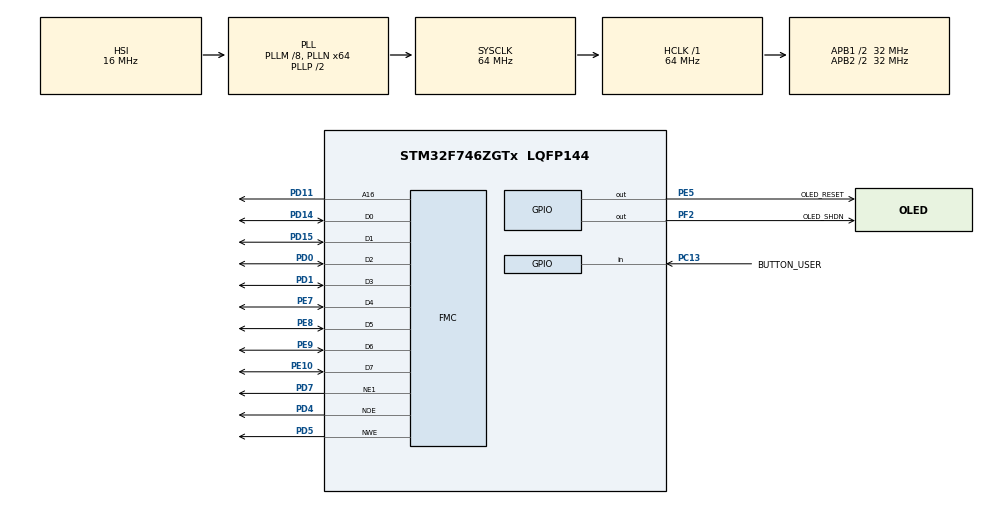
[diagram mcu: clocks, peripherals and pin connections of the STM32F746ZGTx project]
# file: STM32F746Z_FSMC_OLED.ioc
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Mcu.Family=STM32F7
PD7.Mode=NorPsramChipSelect1_1
SH.FMC_D7_DA7.0=FMC_D7,8b-d1
RCC.CortexFreq_Value=64000000
FREERTOS.BinarySemaphores01=screen_frame_buffer_sem,Dynamic,NULL
NVIC.TIM6_DAC_IRQn=true\:5\:0\:false\:false\:true\:true\:true\:true
STMicroelectronics.X-CUBE-TOUCHGFX.4.16.1.tgfx_buffering_strategy=Double
SH.FMC_D6_DA6.0=FMC_D6,8b-d1
PC13.GPIO_Label=BUTTON_USER
SH.FMC_D5_DA5.0=FMC_D5,8b-d1
STMicroelectronics.X-CUBE-TOUCHGFX.4.16.1.tgfx_location=By Address
SH.FMC_NWE.0=FMC_NWE,Lcd1
RCC.SYSCLKSource=RCC_SYSCLKSOURCE_PLLCLK
ProjectManager.StackSize=0x400
CORTEX_M7.Enable-Cortex_Memory_Protection_Unit_Region0_Settings=MPU_REGION_ENABLE
NVIC.DMA2D_IRQn=true\:5\:0\:true\:false\:true\:true\:true\:true
RCC.HCLKFreq_Value=64000000
PD4.Signal=FMC_NOE
RCC.APB2TimFreq_Value=64000000
PD0.Signal=FMC_D2_DA2
NVIC.DMA2_Stream0_IRQn=true\:5\:0\:false\:false\:true\:true\:true\:true
PE5.Signal=GPIO_Output
RCC.AHBFreq_Value=64000000
RCC.HSE_VALUE=25000000
FREERTOS.configUSE_TIMERS=1
SH.FMC_D2_DA2.0=FMC_D2,8b-d1
FMC.BusTurnAroundDuration1=3
FMC.DataSetupTime1=3
PE9.Signal=FMC_D6_DA6
Dma.MEMTOMEM.0.Instance=DMA2_Stream0
PE5.PinState=GPIO_PIN_SET
SH.FMC_D1_DA1.0=FMC_D1,8b-d1
TIM6.Period=10
VP_FREERTOS_VS_CMSIS_V1.Mode=CMSIS_V1
DMA2D.ColorMode=DMA2D_OUTPUT_RGB565
PE10.Signal=FMC_D7_DA7
FREERTOS.configTOTAL_HEAP_SIZE=32768
Mcu.Package=LQFP144
NVIC.TimeBase=TIM7_IRQn
SH.FMC_D0_DA0.0=FMC_D0,8b-d1
FMC.ExtendedDataSetupTime1=3
Dma.MEMTOMEM.0.PeriphInc=DMA_PINC_ENABLE
STMicroelectronics.X-CUBE-TOUCHGFX.4.16.1.ApplicationCcGraphicsJjApplication=TouchGFXOoGenerator
NVIC.TimeBaseIP=TIM7
Dma.MEMTOMEM.0.FIFOThreshold=DMA_FIFO_THRESHOLD_FULL
SH.FMC_D4_DA4.0=FMC_D4,8b-d1
RCC.APB2CLKDivider=RCC_HCLK_DIV2
FMC.ExtendedAddressSetupTime1=15
RCC.APB1TimFreq_Value=64000000
VP_DMA2D_VS_DMA2D.Mode=DMA2D_Activate
PE7.Signal=FMC_D4_DA4
Dma.Request0=MEMTOMEM
STMicroelectronics.X-CUBE-TOUCHGFX.4.16.1.tgfx_datareader=Disabled
PD15.Signal=FMC_D1_DA1
SH.FMC_D3_DA3.0=FMC_D3,8b-d1
NVIC.TIM7_IRQn=true\:0\:0\:false\:false\:true\:false\:false\:true
VP_STMicroelectronics.X-CUBE-TOUCHGFX_VS_GraphicsJjApplication_4.16.1.Mode=GraphicsJjApplication
STMicroelectronics.X-CUBE-TOUCHGFX.4.16.1.tgfx_custom_height=128
Dma.MEMTOMEM.0.MemDataAlignment=DMA_MDATAALIGN_HALFWORD
CORTEX_M7.CPU_ICache=Disabled
FREERTOS.Tasks01=defaultTask,0,4096,StartDefaultTask,Default,NULL,Dynamic,NULL,NULL;ButtonTask,-3,256,StartButtonTask,Default,NULL,Dynamic,NULL,NULL
FMC.ExtendedMode1=FMC_EXTENDED_MODE_ENABLE
Dma.MEMTOMEM.0.Priority=DMA_PRIORITY_LOW
STMicroelectronics.X-CUBE-TOUCHGFX.4.16.1.tgfx_address1=0x20030000
STMicroelectronics.X-CUBE-TOUCHGFX.4.16.1.tgfx_address2=0x2003A000
PC13.Signal=GPIO_Input
VP_SYS_VS_tim7.Mode=TIM7
TIM6.Prescaler=6399
VP_TIM6_VS_ClockSourceINT.Mode=Enable_Timer
PD7.Signal=FMC_NE1
PD1.Signal=FMC_D3_DA3
PD5.Signal=FMC_NWE
RCC.APB1CLKDivider=RCC_HCLK_DIV2
SH.FMC_NOE.0=FMC_NOE,Lcd1
PF2.PinState=GPIO_PIN_SET
STMicroelectronics.X-CUBE-TOUCHGFX.4.16.1.tgfx_custom_width=160
FMC.AddressSetupTime1=15
TIM6.AutoReloadPreload=TIM_AUTORELOAD_PRELOAD_ENABLE
CORTEX_M7.MPU_Control=__NULL
STMicroelectronics.X-CUBE-TOUCHGFX.4.16.1.tgfx_hardware_accelerator=dma_2d
ProjectManager.TargetToolchain=STM32CubeIDE
SH.FMC_A16_CLE.0=FMC_A16,A16_1
FMC.ExtendedBusTurnAroundDuration1=3
PF2.Signal=GPIO_Output
RCC.USBFreq_Value=64000000
Dma.MEMTOMEM.0.FIFOMode=DMA_FIFOMODE_ENABLE
RCC.LSE_VALUE=32768
Dma.MEMTOMEM.0.MemBurst=DMA_MBURST_SINGLE
board=custom
RCC.VCOOutputFreq_Value=128000000
RCC.APB2Freq_Value=32000000
PE8.Signal=FMC_D5_DA5
Mcu.Name=STM32F746ZGTx
CORTEX_M7.Size-Cortex_Memory_Protection_Unit_Region0_Settings=MPU_REGION_SIZE_512KB
PD14.Signal=FMC_D0_DA0
Dma.MEMTOMEM.0.PeriphDataAlignment=DMA_PDATAALIGN_HALFWORD
RCC.SYSCLKFreq_VALUE=64000000
Dma.MEMTOMEM.0.Mode=DMA_NORMAL
Dma.MEMTOMEM.0.PeriphBurst=DMA_PBURST_SINGLE
Dma.MEMTOMEM.0.MemInc=DMA_MINC_DISABLE
PD11.Signal=FMC_A16_CLE
PE5.GPIO_Label=OLED_RESET
ProjectManager.HeapSize=0x200
FREERTOS.Timers01=signalVsync,signalVsyncCallback,osTimerPeriodic,Default,NULL,Dynamic,NULL
RCC.HSI_VALUE=16000000
NVIC.PriorityGroup=NVIC_PRIORITYGROUP_4
RCC.PLLM=8
RCC.PLLN=64
PE5.GPIO_Speed=GPIO_SPEED_FREQ_LOW
Dma.MEMTOMEM.0.Direction=DMA_MEMORY_TO_MEMORY
CORTEX_M7.CPU_DCache=Disabled
RCC.APB1Freq_Value=32000000
VP_CRC_VS_CRC.Mode=CRC_Activate
STMicroelectronics.X-CUBE-TOUCHGFX.4.16.1.tgfx_pixel_format=RGB565\:16
PF2.GPIO_Label=OLED_SHDN

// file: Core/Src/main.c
/* USER CODE BEGIN Header */
/**
  ******************************************************************************
  * @file           : main.c
  * @brief          : Main program body
  ******************************************************************************
  * @attention
  *
  * <h2><center>&copy; Copyright (c) 2021 STMicroelectronics.
  * All rights reserved.</center></h2>
  *
  * This software component is licensed by ST under BSD 3-Clause license,
  * the "License"; You may not use this file except in compliance with the
  * License. You may obtain a copy of the License at:
  *                        opensource.org/licenses/BSD-3-Clause
  *
  ******************************************************************************
  */
/* USER CODE END Header */
#include "main.h"
#include "cmsis_os.h"
#include "crc.h"
#include "dma.h"
#include "dma2d.h"
#include "tim.h"
#include "gpio.h"
#include "fmc.h"
#include "app_touchgfx.h"

/* USER CODE BEGIN Includes */
#include <stdio.h>

#include "../../oled160128/Inc/oled160128.h"
/* USER CODE END Includes */

void SystemClock_Config(void);
void MX_FREERTOS_Init(void);

/* USER CODE BEGIN 0 */
int _write ( int file, char *ptr, int len )
{
  int i = 0;
  for ( i = 0; i < len; i++ )
    ITM_SendChar ( *ptr++ );
  return len;
}

extern void touchgfx_signalVSyncTimer(void);
/* USER CODE END 0 */

int main(void)
{

  /* MCU Configuration--------------------------------------------------------*/

  /* Reset of all peripherals, Initializes the Flash interface and the Systick. */
  HAL_Init();

  /* Configure the system clock */
  SystemClock_Config();

  /* Initialize all configured peripherals */
  MX_GPIO_Init();
  MX_DMA_Init();
  MX_FMC_Init();
  MX_TIM6_Init();
  MX_CRC_Init();
  MX_DMA2D_Init();
  MX_TouchGFX_Init();

  /* Call init function for freertos objects (in freertos.c) */
  MX_FREERTOS_Init();
  /* Start scheduler */
  osKernelStart();

  /* We should never get here as control is now taken by the scheduler */
  /* Infinite loop */
  while (1)
  {

  }
}

void SystemClock_Config(void)
{
  RCC_OscInitTypeDef RCC_OscInitStruct = {0};
  RCC_ClkInitTypeDef RCC_ClkInitStruct = {0};

  /** Configure the main internal regulator output voltage
  */
  __HAL_RCC_PWR_CLK_ENABLE();
  __HAL_PWR_VOLTAGESCALING_CONFIG(PWR_REGULATOR_VOLTAGE_SCALE3);
  /** Initializes the RCC Oscillators according to the specified parameters
  * in the RCC_OscInitTypeDef structure.
  */
  RCC_OscInitStruct.OscillatorType = RCC_OSCILLATORTYPE_HSI;
  RCC_OscInitStruct.HSIState = RCC_HSI_ON;
  RCC_OscInitStruct.HSICalibrationValue = RCC_HSICALIBRATION_DEFAULT;
  RCC_OscInitStruct.PLL.PLLState = RCC_PLL_ON;
  RCC_OscInitStruct.PLL.PLLSource = RCC_PLLSOURCE_HSI;
  RCC_OscInitStruct.PLL.PLLM = 8;
  RCC_OscInitStruct.PLL.PLLN = 64;
  RCC_OscInitStruct.PLL.PLLP = RCC_PLLP_DIV2;
  RCC_OscInitStruct.PLL.PLLQ = 2;
  if (HAL_RCC_OscConfig(&RCC_OscInitStruct) != HAL_OK)
  {
    Error_Handler();
  }
  /** Initializes the CPU, AHB and APB buses clocks
  */
  RCC_ClkInitStruct.ClockType = RCC_CLOCKTYPE_HCLK|RCC_CLOCKTYPE_SYSCLK
                              |RCC_CLOCKTYPE_PCLK1|RCC_CLOCKTYPE_PCLK2;
  RCC_ClkInitStruct.SYSCLKSource = RCC_SYSCLKSOURCE_PLLCLK;
  RCC_ClkInitStruct.AHBCLKDivider = RCC_SYSCLK_DIV1;
  RCC_ClkInitStruct.APB1CLKDivider = RCC_HCLK_DIV2;
  RCC_ClkInitStruct.APB2CLKDivider = RCC_HCLK_DIV2;

  if (HAL_RCC_ClockConfig(&RCC_ClkInitStruct, FLASH_LATENCY_2) != HAL_OK)
  {
    Error_Handler();
  }
}

 /**
  * @brief  Period elapsed callback in non blocking mode
  * @note   This function is called  when TIM7 interrupt took place, inside
  * HAL_TIM_IRQHandler(). It makes a direct call to HAL_IncTick() to increment
  * a global variable "uwTick" used as application time base.
  * @param  htim : TIM handle
  * @retval None
  */
void HAL_TIM_PeriodElapsedCallback(TIM_HandleTypeDef *htim)
{
  if (htim->Instance == TIM7) {
    HAL_IncTick();
  }
  /* USER CODE BEGIN Callback 1 */
  else if (htim->Instance == TIM6) {
//  	touchgfx_signalVSyncTimer();
  }
  /* USER CODE END Callback 1 */
}

void Error_Handler(void)
{
  __disable_irq();
  while (1)
  {
  }
}

/************************ (C) COPYRIGHT STMicroelectronics *****END OF FILE****/

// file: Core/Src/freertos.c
/* USER CODE BEGIN Header */
/**
  ******************************************************************************
  * File Name          : freertos.c
  * Description        : Code for freertos applications
  ******************************************************************************
  * @attention
  *
  * <h2><center>&copy; Copyright (c) 2021 STMicroelectronics.
  * All rights reserved.</center></h2>
  *
  * This software component is licensed by ST under Ultimate Liberty license
  * SLA0044, the "License"; You may not use this file except in compliance with
  * the License. You may obtain a copy of the License at:
  *                             www.st.com/SLA0044
  *
  ******************************************************************************
  */
/* USER CODE END Header */

#include "FreeRTOS.h"
#include "task.h"
#include "main.h"
#include "cmsis_os.h"

/* USER CODE BEGIN Includes */
#include "tim.h"
#include <stdbool.h>

#include "../../oled160128/Inc/oled160128.h"
//#include "app_touchgfx.h"
/* USER CODE END Includes */

/* USER CODE BEGIN Variables */
extern bool buttonState;
/* USER CODE END Variables */
osThreadId defaultTaskHandle;
osThreadId ButtonTaskHandle;
osTimerId signalVsyncHandle;
osSemaphoreId screen_frame_buffer_semHandle;

/* USER CODE BEGIN FunctionPrototypes */
extern void touchgfx_signalVSyncTimer(void);

void TransferComplete(DMA_HandleTypeDef *_hdma);
void TransferError(DMA_HandleTypeDef *_hdma);
bool PollingButton(uint8_t state);
/* USER CODE END FunctionPrototypes */

void StartDefaultTask(void const * argument);
void StartButtonTask(void const * argument);
void signalVsyncCallback(void const * argument);

void MX_FREERTOS_Init(void); /* (MISRA C 2004 rule 8.1) */

/* GetIdleTaskMemory prototype (linked to static allocation support) */
void vApplicationGetIdleTaskMemory( StaticTask_t **ppxIdleTaskTCBBuffer, StackType_t **ppxIdleTaskStackBuffer, uint32_t *pulIdleTaskStackSize );

/* GetTimerTaskMemory prototype (linked to static allocation support) */
void vApplicationGetTimerTaskMemory( StaticTask_t **ppxTimerTaskTCBBuffer, StackType_t **ppxTimerTaskStackBuffer, uint32_t *pulTimerTaskStackSize );

/* USER CODE BEGIN GET_IDLE_TASK_MEMORY */
static StaticTask_t xIdleTaskTCBBuffer;
static StackType_t xIdleStack[configMINIMAL_STACK_SIZE];

void vApplicationGetIdleTaskMemory( StaticTask_t **ppxIdleTaskTCBBuffer, StackType_t **ppxIdleTaskStackBuffer, uint32_t *pulIdleTaskStackSize )
{
  *ppxIdleTaskTCBBuffer = &xIdleTaskTCBBuffer;
  *ppxIdleTaskStackBuffer = &xIdleStack[0];
  *pulIdleTaskStackSize = configMINIMAL_STACK_SIZE;
  /* place for user code */
}
/* USER CODE END GET_IDLE_TASK_MEMORY */

/* USER CODE BEGIN GET_TIMER_TASK_MEMORY */
static StaticTask_t xTimerTaskTCBBuffer;
static StackType_t xTimerStack[configTIMER_TASK_STACK_DEPTH];

void vApplicationGetTimerTaskMemory( StaticTask_t **ppxTimerTaskTCBBuffer, StackType_t **ppxTimerTaskStackBuffer, uint32_t *pulTimerTaskStackSize )
{
  *ppxTimerTaskTCBBuffer = &xTimerTaskTCBBuffer;
  *ppxTimerTaskStackBuffer = &xTimerStack[0];
  *pulTimerTaskStackSize = configTIMER_TASK_STACK_DEPTH;
  /* place for user code */
}
/* USER CODE END GET_TIMER_TASK_MEMORY */

void MX_FREERTOS_Init(void) {

  /* Create the semaphores(s) */
  /* definition and creation of screen_frame_buffer_sem */
  osSemaphoreDef(screen_frame_buffer_sem);
  screen_frame_buffer_semHandle = osSemaphoreCreate(osSemaphore(screen_frame_buffer_sem), 1);

  /* Create the timer(s) */
  /* definition and creation of signalVsync */
  osTimerDef(signalVsync, signalVsyncCallback);
  signalVsyncHandle = osTimerCreate(osTimer(signalVsync), osTimerPeriodic, NULL);

  /* Create the thread(s) */
  /* definition and creation of defaultTask */
  osThreadDef(defaultTask, StartDefaultTask, osPriorityNormal, 0, 4096);
  defaultTaskHandle = osThreadCreate(osThread(defaultTask), NULL);

  /* definition and creation of ButtonTask */
  osThreadDef(ButtonTask, StartButtonTask, osPriorityIdle, 0, 256);
  ButtonTaskHandle = osThreadCreate(osThread(ButtonTask), NULL);

}

void StartDefaultTask(void const * argument)
{
  /* USER CODE BEGIN StartDefaultTask */
	HAL_DMA_RegisterCallback(&hdma_memtomem_dma2_stream0, HAL_DMA_XFER_CPLT_CB_ID, TransferComplete);
	HAL_DMA_RegisterCallback(&hdma_memtomem_dma2_stream0, HAL_DMA_XFER_ERROR_CB_ID, TransferError);
	HAL_EnableFMCMemorySwapping();
	OLED_Init_160128RGB();
	osTimerStart(signalVsyncHandle, 10);
	MX_TouchGFX_Process();
  /* Infinite loop */
  for(;;)
  {

  }
  /* USER CODE END StartDefaultTask */
}

void StartButtonTask(void const * argument)
{
  /* USER CODE BEGIN StartButtonTask */
//	bool state = false;
  /* Infinite loop */
  for(;;)
  {
//  	if((PollingButton(GPIO_PIN_SET) == true) && state == false){
//  		state = true;
//  	}else if((PollingButton(GPIO_PIN_RESET) == true) && state == true){
//  		buttonState = true;
//  		state = false;
//  	}
  }
  /* USER CODE END StartButtonTask */
}

/* signalVsyncCallback function */
void signalVsyncCallback(void const * argument)
{
  /* USER CODE BEGIN signalVsyncCallback */
	touchgfx_signalVSyncTimer();
  /* USER CODE END signalVsyncCallback */
}

/* USER CODE BEGIN Application */
void TransferComplete(DMA_HandleTypeDef *_hdma)
{
	osSemaphoreRelease(screen_frame_buffer_semHandle);
}

void TransferError(DMA_HandleTypeDef *_hdma)
{

}

bool PollingButton(uint8_t state)
{
	for(uint8_t i = 0; i < 10; i++){
		if(HAL_GPIO_ReadPin(BUTTON_USER_GPIO_Port, BUTTON_USER_Pin) != state){
			return false;
		}
		osDelay(1);
	}
	return true;
}
/* USER CODE END Application */

/************************ (C) COPYRIGHT STMicroelectronics *****END OF FILE****/
